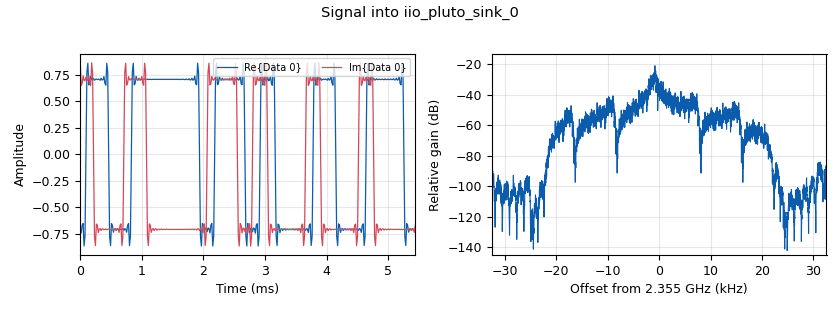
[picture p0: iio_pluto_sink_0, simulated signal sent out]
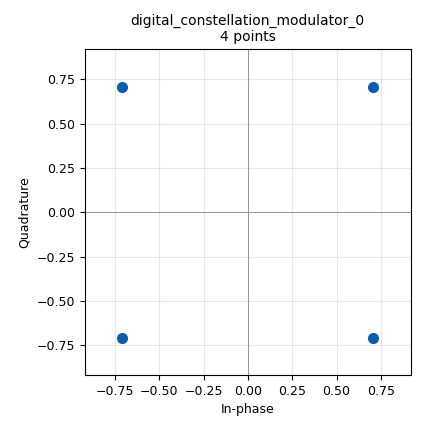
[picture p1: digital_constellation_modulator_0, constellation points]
options:
  parameters:
    author: ivy
    generate_options: qt_gui
    id: qspk
    output_language: python
    title: Not titled yet
  states: {}

blocks:
- name: qspk
  id: variable_constellation_rect
  parameters:
    const_points: '[-1-1j, -1+1j, 1+1j, 1-1j]'
    imag_sect: '2'
    real_sect: '2'
    rot_sym: '4'
    sym_map: '[0, 1, 3, 2]'
    w_imag_sect: '1'
    w_real_sect: '1'
  states: {}
- name: rx
  id: variable_qtgui_range
  parameters:
    start: '0'
    step: '1'
    stop: '20'
    value: '0'
  states: {}
- name: samp_rate
  id: variable
  parameters:
    value: '65105'
  states: {}
- name: tx
  id: variable_qtgui_range
  parameters:
    start: '0'
    step: '1'
    stop: '20'
    value: '0'
  states: {}
- name: analog_random_source_x_0
  id: analog_random_source_x
  parameters:
    max: '2'
    min: '0'
    num_samps: '1000'
    repeat: 'True'
    type: byte
  states: {}
- name: digital_constellation_modulator_0
  id: digital_constellation_modulator
  parameters:
    constellation: qspk
    differential: 'True'
    excess_bw: '0.35'
    samples_per_symbol: '2'
  states: {}
- name: iio_pluto_sink_0
  id: iio_pluto_sink
  parameters:
    attenuation1: tx
    bandwidth: '200000'
    buffer_size: '32768'
    cyclic: 'False'
    filter_source: '''Auto'''
    frequency: '2355000000'
    samplerate: samp_rate
    type: fc32
  states: {}
- name: iio_pluto_source_0
  id: iio_pluto_source
  parameters:
    bandwidth: '200000'
    bbdc: 'True'
    buffer_size: '32768'
    filter_source: '''Auto'''
    frequency: '2355000000'
    gain1: '''manual'''
    manual_gain1: rx
    quadrature: 'True'
    rfdc: 'True'
    samplerate: samp_rate
    type: fc32
  states: {}
- name: qtgui_const_sink_x_0
  id: qtgui_const_sink_x
  parameters:
    size: '1024'
    type: complex
  states: {}

connections:
- [analog_random_source_x_0, '0', digital_constellation_modulator_0, '0']
- [digital_constellation_modulator_0, '0', iio_pluto_sink_0, '0']
- [iio_pluto_source_0, '0', qtgui_const_sink_x_0, '0']

metadata:
  file_format: 1
  grc_version: 3.10.12.0
